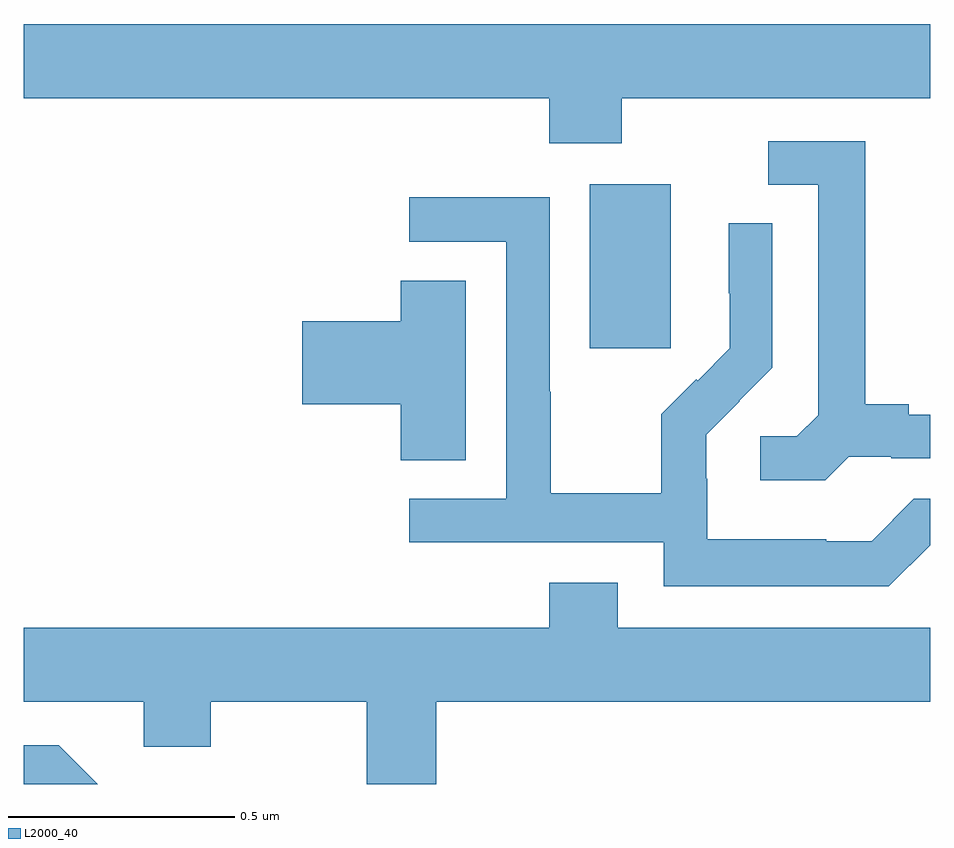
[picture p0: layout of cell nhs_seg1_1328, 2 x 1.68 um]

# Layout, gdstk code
import gdstk
lib = gdstk.Library(unit=1e-6, precision=1e-09)
def R(c, l, rs):  # rectangles x0, y0, x1, y1
    for r in rs: c.add(gdstk.rectangle(r[:2], r[2:], *l))
def P(c, l, *ps):  # polygons
    for p in ps: c.add(gdstk.Polygon(p, *l))
L2000_40 = (2000, 40)

nhs_seg1_1328 = lib.new_cell('nhs_seg1_1328')
R(nhs_seg1_1328, L2000_40, [(128.249,571.161,128.428,571.522)])
P(nhs_seg1_1328, L2000_40, [(128.319,571.712),(129,571.712),(129,571.876),(127,571.876),(127,571.712),(128.159,571.712),(128.159,571.613),(128.319,571.613)],
  [(128.82,570.921),(128.914,570.921),(128.914,570.918),(129,570.918),(129,571.014),(128.953,571.014),(128.953,571.037),(128.857,571.037),(128.857,571.617),(128.643,571.617),(128.643,571.521),(128.753,571.521),(128.753,571.013),(128.706,570.966),(128.625,570.966),(128.625,570.869),(128.768,570.869)],
  [(129,570.726),(129,570.828),(128.964,570.828),(128.871,570.735),(128.771,570.735),(128.771,570.739),(128.508,570.739),(128.508,570.873),(128.506,570.873),(128.506,570.97),(128.58,571.044),(128.579,571.045),(128.652,571.118),(128.652,571.436),(128.556,571.436),(128.556,571.282),(128.558,571.282),(128.558,571.16),(128.487,571.089),(128.484,571.092),(128.407,571.015),(128.407,570.841),(128.163,570.841),(128.163,571.064),(128.16,571.064),(128.16,571.494),(127.851,571.494),(127.851,571.395),(128.064,571.395),(128.064,570.828),(127.851,570.828),(127.851,570.732),(128.412,570.732),(128.412,570.635),(128.909,570.635)],
  [(127.975,571.31),(127.832,571.31),(127.832,571.22),(127.614,571.22),(127.614,571.037),(127.832,571.037),(127.832,570.913),(127.975,570.913)],
  [(127.91,570.38),(129,570.38),(129,570.544),(128.311,570.544),(128.311,570.643),(128.159,570.643),(128.159,570.544),(127,570.544),(127,570.38),(127.265,570.38),(127.265,570.281),(127.413,570.281),(127.413,570.38),(127.757,570.38),(127.757,570.199),(127.91,570.199)],
  [(127.077,570.285),(127,570.285),(127,570.199),(127.163,570.199)])

lib.write_gds('nhs_seg1_1328.gds')
